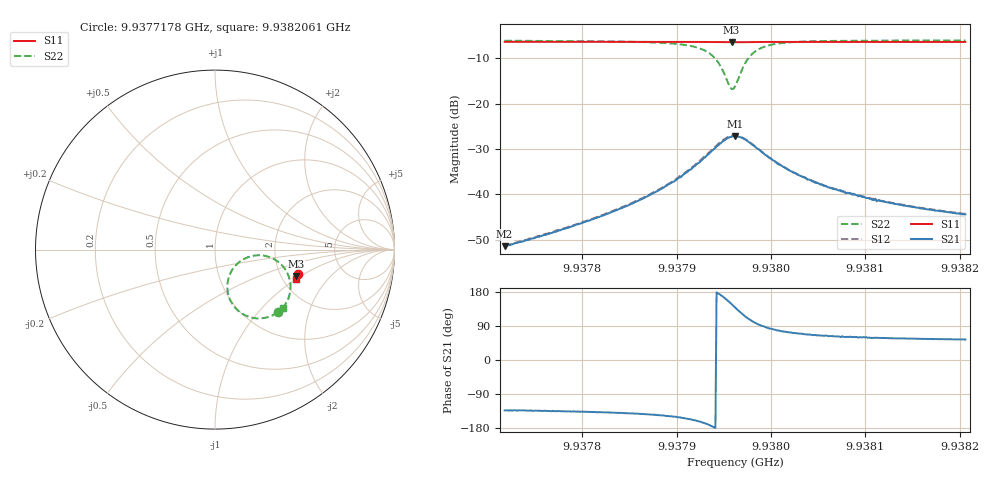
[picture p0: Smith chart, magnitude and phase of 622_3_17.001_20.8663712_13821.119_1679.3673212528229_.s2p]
#  HZ  S  RI  R  50.00
! Rohde & Schwarz Vector Network Analyzer
! Rohde-Schwarz,ZNB20-2Port,1311601062101988,3.16
! Created: UTC 3/20/2024, 11:19:59 PM
! freq[Hz]  re:S11  im:S11  re:S21  im:S21  re:S12  im:S12  re:S22  im:S22
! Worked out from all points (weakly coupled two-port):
!   401 points, 9.9377178 GHz to 9.9382061 GHz, reference 50 ohm
!   highest |S21| = -27.18 dB at 9.9379619 GHz (marker M1); lowest = -51.5 dB at 9.9377178 GHz (marker M2)
!   lowest |S11| = -6.5 dB at 9.9379583 GHz (marker M3), VSWR 2.81, Z = 120 - j46.2 ohm
!   |S11| at or under -10 dB: nowhere
!   |S22| runs from -16.8 to -6.1 dB; largest |S21 - S12| = 0.0022
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9.93771781e9  0.4624 -0.1357  -0.00182 -0.00196  -0.00186 -0.00195  0.3499 -0.3487
9.93779959e9  0.4601 -0.1413  -0.00347 -0.00334  -0.00357 -0.00332  0.3305 -0.3612
9.93784475e9  0.4587 -0.1446  -0.00557 -0.00463  -0.00573 -0.00463  0.3097 -0.3711
9.93788137e9  0.4575 -0.147  -0.00915 -0.00628  -0.00945 -0.00626  0.2771 -0.3806
9.93791433e9  0.4558 -0.1494  -0.0172 -0.00748  -0.0176 -0.00719  0.2099 -0.3802
9.93793264e9  0.4541 -0.1508  -0.0266 -0.00509  -0.0274 -0.00443  0.1357 -0.3459
9.93793874e9  0.4533 -0.1506  -0.0309 -0.0019  -0.032 -0.00113  0.1053 -0.3151
9.93794484e9  0.4526 -0.1507  -0.0351 0.00327  -0.0362 0.00437  0.0787 -0.2664
9.93795217e9  0.4519 -0.15  -0.0382 0.0133  -0.0387 0.0148  0.0704 -0.1818
9.93795583e9  0.4517 -0.1495  -0.0378 0.0192  -0.0379 0.021  0.0844 -0.1342
9.93795827e9  0.4516 -0.1492  -0.0363 0.0231  -0.0362 0.0252  0.102 -0.1038
9.93796193e9  0.4518 -0.1488  -0.0331 0.0287  -0.0325 0.0306  0.1395 -0.0663
9.93796804e9  0.4526 -0.1481  -0.0241 0.0349  -0.0232 0.0363  0.2187 -0.0332
9.93797414e9  0.4534 -0.1482  -0.0149 0.0363  -0.0138 0.0372  0.293 -0.0382
9.93798024e9  0.4541 -0.1486  -0.00753 0.0344  -0.00658 0.0351  0.3481 -0.065
9.93798634e9  0.4548 -0.1494  -0.00228 0.0315  -0.00149 0.0317  0.3828 -0.0979
9.93800587e9  0.4553 -0.1514  0.00444 0.0218  0.00487 0.0219  0.4191 -0.1835
9.9380254e9  0.455 -0.1533  0.00557 0.0162  0.00608 0.0161  0.4193 -0.2318
9.93804371e9  0.4547 -0.1549  0.00567 0.0126  0.00595 0.0127  0.4134 -0.2584
9.93807789e9  0.4538 -0.1576  0.00514 0.00917  0.00527 0.0092  0.4023 -0.2865
9.9381255e9  0.4525 -0.1608  0.00432 0.0068  0.00453 0.00682  0.3905 -0.3073
9.93820606e9  0.4504 -0.1663  0.00352 0.00485  0.00364 0.00486  0.3772 -0.3251
